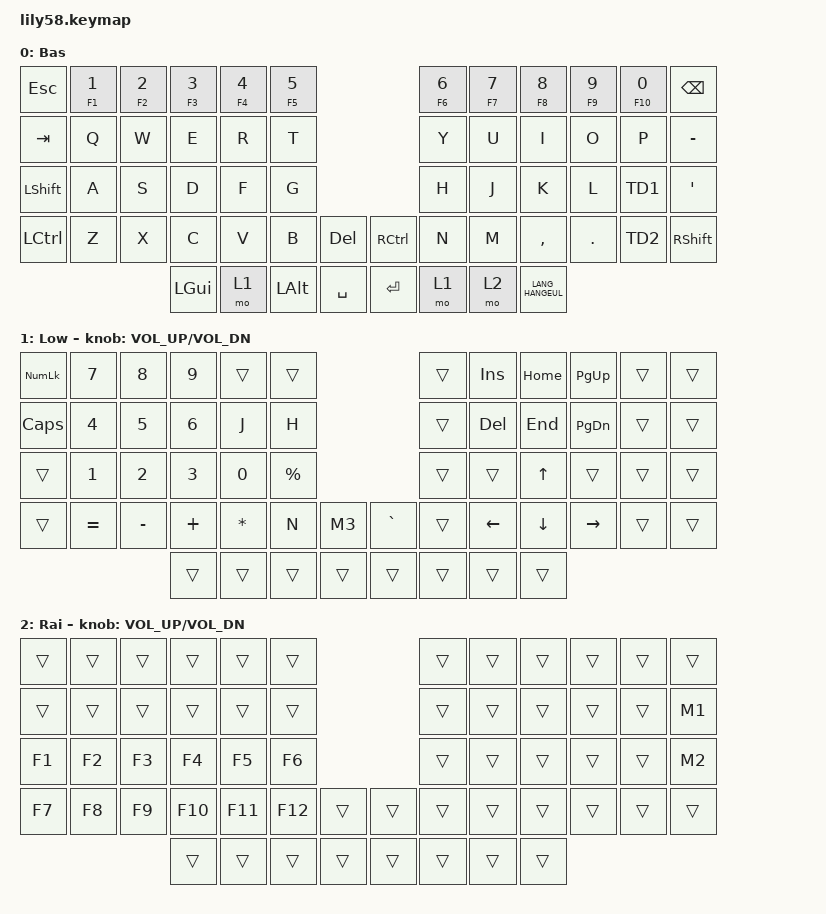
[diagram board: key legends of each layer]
/*
 * Copyright (c) 2020 The ZMK Contributors
 *
 * SPDX-License-Identifier: MIT
 */

#include <behaviors.dtsi>
#include <dt-bindings/zmk/keys.h>

/ {
    behaviors {
        HT1: HT1 {
            compatible = "zmk,behavior-hold-tap";
            label = "HT1";
            bindings = <&kp>, <&kp>;

            #binding-cells = <2>;
            hold-trigger-key-positions = <1>;
            tapping-term-ms = <200>;
            flavor = "tap-preferred";
        };

        HT2: HT2 {
            compatible = "zmk,behavior-hold-tap";
            label = "HT2";
            bindings = <&kp>, <&kp>;

            #binding-cells = <2>;
            hold-trigger-key-positions = <2>;
            tapping-term-ms = <200>;
            flavor = "tap-preferred";
        };

        HT3: HT3 {
            compatible = "zmk,behavior-hold-tap";
            label = "HT3";
            bindings = <&kp>, <&kp>;

            #binding-cells = <2>;
            tapping-term-ms = <200>;
            flavor = "tap-preferred";
            hold-trigger-key-positions = <3>;
        };

        HT4: HT4 {
            compatible = "zmk,behavior-hold-tap";
            label = "HT4";
            bindings = <&kp>, <&kp>;

            #binding-cells = <2>;
            tapping-term-ms = <200>;
            flavor = "tap-preferred";
            hold-trigger-key-positions = <4>;
        };

        HT5: HT5 {
            compatible = "zmk,behavior-hold-tap";
            label = "HT5";
            bindings = <&kp>, <&kp>;

            #binding-cells = <2>;
            tapping-term-ms = <200>;
            flavor = "tap-preferred";
            hold-trigger-key-positions = <5>;
        };

        HT6: HT6 {
            compatible = "zmk,behavior-hold-tap";
            label = "HT6";
            bindings = <&kp>, <&kp>;

            #binding-cells = <2>;
            tapping-term-ms = <200>;
            flavor = "tap-preferred";
            hold-trigger-key-positions = <6>;
        };

        HT7: HT7 {
            compatible = "zmk,behavior-hold-tap";
            label = "HT7";
            bindings = <&kp>, <&kp>;

            #binding-cells = <2>;
            tapping-term-ms = <200>;
            flavor = "tap-preferred";
            hold-trigger-key-positions = <7>;
        };

        HT8: HT8 {
            compatible = "zmk,behavior-hold-tap";
            label = "HT8";
            bindings = <&kp>, <&kp>;

            #binding-cells = <2>;
            tapping-term-ms = <200>;
            flavor = "tap-preferred";
            hold-trigger-key-positions = <8>;
        };

        HT9: HT9 {
            compatible = "zmk,behavior-hold-tap";
            label = "HT9";
            bindings = <&kp>, <&kp>;

            #binding-cells = <2>;
            tapping-term-ms = <200>;
            flavor = "tap-preferred";
            hold-trigger-key-positions = <9>;
        };

        HT10: HT10 {
            compatible = "zmk,behavior-hold-tap";
            label = "HT10";
            bindings = <&kp>, <&kp>;

            #binding-cells = <2>;
            tapping-term-ms = <200>;
            flavor = "tap-preferred";
            hold-trigger-key-positions = <10>;
        };

        TD1: TD1 {
            compatible = "zmk,behavior-tap-dance";
            label = "TD1";
            #binding-cells = <0>;
            bindings = <&kp SEMICOLON>, <&kp GRAVE>;
        };

        TD2: TD2 {
            compatible = "zmk,behavior-tap-dance";
            label = "TD2";
            #binding-cells = <0>;
            bindings = <&kp SLASH>, <&kp BACKSLASH>;
        };
    };

    macros {
        M3: M3 {
            compatible = "zmk,behavior-macro";
            #binding-cells = <0>;
            bindings = <&kp LC(BACKSPACE)>;
            label = "M3";
        };

        M1: M1 {
            compatible = "zmk,behavior-macro";
            #binding-cells = <0>;
            bindings = <&kp AT_SIGN &kp Y &kp P &kp E &kp LS(T)>;
            label = "M1";
        };

        M2: M2 {
            compatible = "zmk,behavior-macro";
            #binding-cells = <0>;
            bindings = <&kp AT_SIGN &kp P &kp E &kp N2>;
            label = "M2";
        };
    };

    keymap {
        compatible = "zmk,keymap";

        default_layer {
            // ------------------------------------------------------------------------------------------------------------
            // |  ESC  |  1  |  2  |  3   |  4   |  5   |                   |  6   |  7    |  8    |  9   |   0   |   `   |
            // |  TAB  |  Q  |  W  |  E   |  R   |  T   |                   |  Y   |  U    |  I    |  O   |   P   |   -   |
            // |  CTRL |  A  |  S  |  D   |  F   |  G   |                   |  H   |  J    |  K    |  L   |   ;   |   '   |
            // | SHIFT |  Z  |  X  |  C   |  V   |  B   |   "["  |  |  "]"  |  N   |  M    |  ,    |  .   |   /   | SHIFT |
            //                     | ALT  | GUI  | LOWER|  SPACE |  | ENTER | RAISE| BSPC  | GUI   |

            display-name = "Bas";
            bindings = <
&kp ESC         &HT1 F1 N1  &HT2 F2 N2  &HT3 F3 N3    &HT4 F4 N4  &HT5 F5 N5                                     &HT6 F6 N6  &HT7 F7 N7  &HT8 F8 N8        &HT9 F9 N9  &HT10 F10 N0  &kp BACKSPACE
&kp TAB         &kp Q       &kp W       &kp E         &kp R       &kp T                                          &kp Y       &kp U       &kp I             &kp O       &kp P         &kp MINUS
&kp LEFT_SHIFT  &kp A       &kp S       &kp D         &kp F       &kp G                                          &kp H       &kp J       &kp K             &kp L       &TD1          &kp SQT
&kp LCTRL       &kp Z       &kp X       &kp C         &kp V       &kp B         &kp DELETE    &kp RIGHT_CONTROL  &kp N       &kp M       &kp COMMA         &kp DOT     &TD2          &kp RSHFT
                                        &kp LEFT_GUI  &mo 1       &kp LEFT_ALT  &kp SPACE     &kp RET            &mo 1       &mo 2       &kp LANG_HANGEUL
            >;
        };

        lower_layer {
            // ------------------------------------------------------------------------------------------------------------
            // | BTCLR | BT1 | BT2 |  BT3 |  BT4 |  BT5 |                   |      |       |       |      |       |       |
            // |  F1   |  F2 |  F3 |  F4  |  F5  |  F6  |                   |  F7  |  F8   |  F9   |  F10 |  F11  |  F12  |
            // |   `   |  !  |  @  |  #   |  $   |  %   |                   |  ^   |  &    |  *    |  (   |   )   |   ~   |
            // |       |     |     |      |      |      |        |  |       |      |  _    |  +    |  {   |   }   |  "|"  |
            //                     |      |      |      |        |  |       |      |       |       |

            display-name = "Low";
            bindings = <
&kp KP_NUMLOCK  &kp NUMBER_7  &kp NUMBER_8  &kp NUMBER_9  &trans        &trans                          &trans  &kp INSERT  &kp HOME      &kp PAGE_UP    &trans  &trans
&kp CAPSLOCK    &kp NUMBER_4  &kp NUMBER_5  &kp NUMBER_6  &kp J         &kp H                           &trans  &kp DELETE  &kp END       &kp PAGE_DOWN  &trans  &trans
&trans          &kp NUMBER_1  &kp NUMBER_2  &kp NUMBER_3  &kp NUMBER_0  &kp PRCNT                       &trans  &trans      &kp UP_ARROW  &trans         &trans  &trans
&trans          &kp EQUAL     &kp MINUS     &kp PLUS      &kp ASTERISK  &kp N      &M3       &kp GRAVE  &trans  &kp LEFT    &kp DOWN      &kp RIGHT      &trans  &trans
                                            &trans        &trans        &trans     &trans    &trans     &trans  &trans      &trans
            >;

            sensor-bindings = <&inc_dec_kp C_VOL_UP C_VOL_DN>;
        };

        raise_layer {
            // ------------------------------------------------------------------------------------------------------------
            // |       |     |     |      |      |      |                   |      |       |       |      |       |       |
            // |   `   |  1  |  2  |  3   |  4   |  5   |                   |  6   |   7   |   8   |  9   |   0   |       |
            // |   F1  |  F2 |  F3 |  F4  |  F5  |  F6  |                   |      |   <-  |   v   |  ^   |  ->   |       |
            // |   F7  |  F8 |  F9 |  F10 |  F11 |  F12 |        |  |       |  +   |   -   |   =   |  [   |   ]   |   \   |
            //                     |      |      |      |        |  |       |      |       |       |

            display-name = "Rai";
            bindings = <
&trans  &trans  &trans  &trans   &trans   &trans                     &trans  &trans  &trans  &trans  &trans  &trans
&trans  &trans  &trans  &trans   &trans   &trans                     &trans  &trans  &trans  &trans  &trans  &M1
&kp F1  &kp F2  &kp F3  &kp F4   &kp F5   &kp F6                     &trans  &trans  &trans  &trans  &trans  &M2
&kp F7  &kp F8  &kp F9  &kp F10  &kp F11  &kp F12  &trans    &trans  &trans  &trans  &trans  &trans  &trans  &trans
                        &trans   &trans   &trans   &trans    &trans  &trans  &trans  &trans
            >;

            sensor-bindings = <&inc_dec_kp C_VOL_UP C_VOL_DN>;
        };

        extra_1 { status = "reserved"; };

        extra_2 { status = "reserved"; };

        extra_3 { status = "reserved"; };
    };
};
